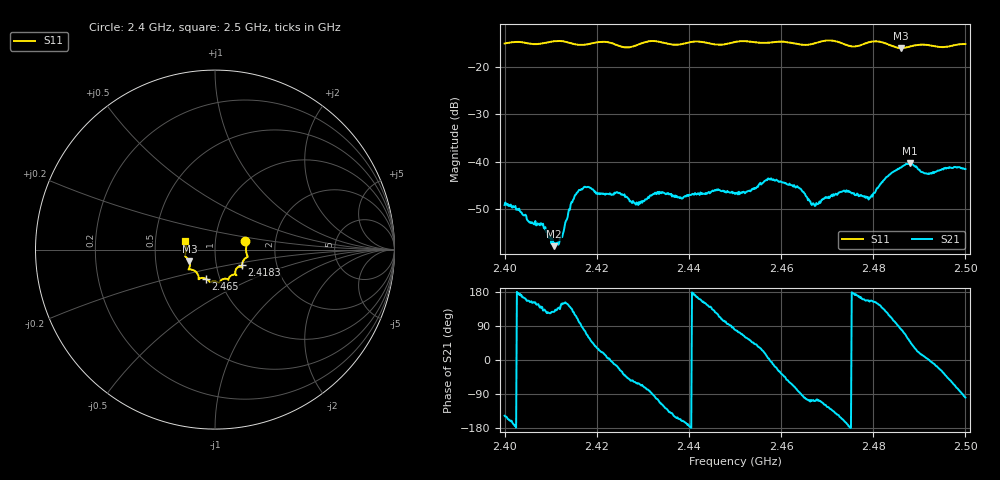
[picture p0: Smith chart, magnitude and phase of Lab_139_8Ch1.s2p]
# Hz S RI R 50
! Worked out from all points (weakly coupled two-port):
!   601 points, 2.4 GHz to 2.5 GHz, reference 50 ohm
!   highest |S21| = -40.37 dB at 2.488 GHz (marker M1); lowest = -57.8 dB at 2.4107 GHz (marker M2)
!   lowest |S11| = -16.1 dB at 2.486 GHz (marker M3), VSWR 1.37, Z = 37.2 - j4.98 ohm
!   |S11| at or under -10 dB: start of sweep to end of sweep
!   S12 and S22 are empty: the file has one direction only
!   S11 on the Smith chart (normalised r, x): 2.4 GHz: 1.40, +0.14; 2.4183 GHz: 1.33, -0.24; 2.465 GHz: 0.86, -0.28; 2.5 GHz: 0.71, +0.07
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2.4e9  0.1689 0.0469  -0.00293 -0.0019  0 0  0 0
2.408333e9  0.1755 -0.0195  -0.00144 0.00169  0 0  0 0
2.410667e9  0.1814 -0.0371  -0.000773 0.00103  0 0  0 0
2.412167e9  0.1817 -0.041  -0.00126 0.000957  0 0  0 0
2.414833e9  0.1665 -0.051  -0.00237 0.00316  0 0  0 0
2.416667e9  0.1548 -0.0685  4.5e-05 0.00514  0 0  0 0
2.418333e9  0.1501 -0.0872  0.00282 0.00458  0 0  0 0
2.4285e9  0.1128 -0.1236  0.00173 -0.00306  0 0  0 0
2.433333e9  0.1176 -0.1411  -0.00132 -0.00459  0 0  0 0
2.438167e9  0.0819 -0.151  -0.00385 -0.00171  0 0  0 0
2.446167e9  0.0521 -0.1626  -0.00263 0.00425  0 0  0 0
2.45e9  0.0263 -0.1801  0.000824 0.00448  0 0  0 0
2.457667e9  -0.015 -0.1789  0.00647 -0.000303  0 0  0 0
2.465e9  -0.0523 -0.1613  -0.00076 -0.0046  0 0  0 0
2.466667e9  -0.071 -0.1575  -0.00107 -0.00332  0 0  0 0
2.473667e9  -0.0929 -0.1457  -0.00467 -0.00164  0 0  0 0
2.479333e9  -0.1445 -0.111  -0.00381 0.00168  0 0  0 0
2.483333e9  -0.141 -0.0962  -0.00342 0.00625  0 0  0 0
2.486e9  -0.1425 -0.0652  0.00131 0.00854  0 0  0 0
2.488e9  -0.1561 -0.0469  0.00633 0.00719  0 0  0 0
2.491667e9  -0.1666 -0.0308  0.00743 0.000532  0 0  0 0
2.5e9  -0.1666 0.0469  -0.00133 -0.00825  0 0  0 0
